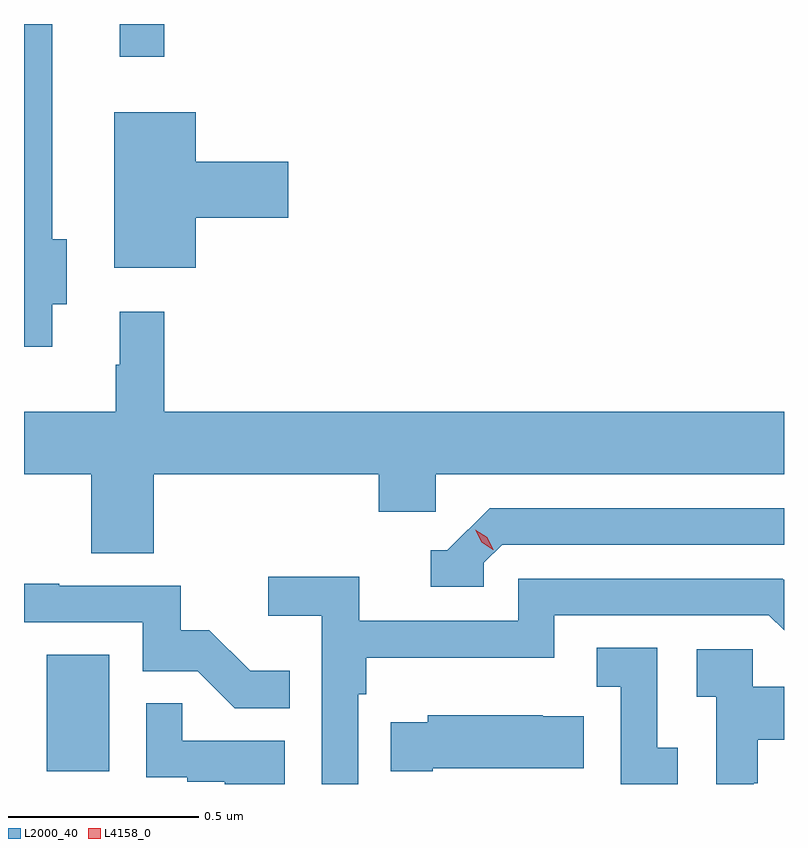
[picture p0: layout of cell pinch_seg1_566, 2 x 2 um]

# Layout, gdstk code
import gdstk
lib = gdstk.Library(unit=1e-6, precision=1e-09)
def R(c, l, rs):  # rectangles x0, y0, x1, y1
    for r in rs: c.add(gdstk.rectangle(r[:2], r[2:], *l))
def P(c, l, *ps):  # polygons
    for p in ps: c.add(gdstk.Polygon(p, *l))
L2000_40 = (2000, 40)
L4158_0 = (4158, 0)

pinch_seg1_566 = lib.new_cell('pinch_seg1_566')
R(pinch_seg1_566, L2000_40, [(1017.356,526.974,1017.52,527.281), (1017.548,528.855,1017.665,528.941)])
P(pinch_seg1_566, L2000_40, [(1017.37,528.203),(1017.409,528.203),(1017.409,528.374),(1017.37,528.374),(1017.37,528.941),(1017.296,528.941),(1017.296,528.092),(1017.37,528.092)],
  [(1017.748,528.431),(1017.991,528.431),(1017.991,528.578),(1017.748,528.578),(1017.748,528.709),(1017.533,528.709),(1017.533,528.299),(1017.748,528.299)],
  [(1017.638,527.756),(1018.229,527.756),(1018.229,527.658),(1018.38,527.658),(1018.38,527.756),(1019.296,527.756),(1019.296,527.92),(1017.665,527.92),(1017.665,528.184),(1017.548,528.184),(1017.548,528.044),(1017.537,528.044),(1017.537,527.92),(1017.296,527.92),(1017.296,527.756),(1017.473,527.756),(1017.473,527.548),(1017.638,527.548)],
  [(1018.506,527.523),(1018.554,527.571),(1019.296,527.571),(1019.296,527.667),(1018.521,527.667),(1018.41,527.556),(1018.367,527.556),(1018.367,527.46),(1018.506,527.46)],
  [(1018.176,527.177),(1018.196,527.177),(1018.196,527.273),(1018.692,527.273),(1018.692,527.385),(1019.256,527.385),(1019.296,527.345),(1019.296,527.478),(1019.293,527.481),(1018.596,527.481),(1018.596,527.37),(1018.178,527.37),(1018.178,527.486),(1017.939,527.486),(1017.939,527.384),(1018.08,527.384),(1018.08,526.941),(1018.176,526.941)],
  [(1017.995,527.239),(1017.891,527.239),(1017.784,527.346),(1017.708,527.346),(1017.708,527.463),(1017.389,527.463),(1017.389,527.468),(1017.296,527.468),(1017.296,527.367),(1017.609,527.367),(1017.609,527.238),(1017.753,527.238),(1017.851,527.14),(1017.995,527.14)],
  [(1019.017,527.037),(1018.962,527.037),(1018.962,527.3),(1018.803,527.3),(1018.803,527.197),(1018.866,527.197),(1018.866,526.941),(1019.017,526.941)],
  [(1019.217,526.943),(1019.227,526.943),(1019.227,527.057),(1019.296,527.057),(1019.296,527.197),(1019.214,527.197),(1019.214,527.295),(1019.067,527.295),(1019.067,527.171),(1019.118,527.171),(1019.118,526.941),(1019.217,526.941)],
  [(1017.982,527.055),(1017.713,527.055),(1017.713,527.153),(1017.618,527.153),(1017.618,526.959),(1017.725,526.959),(1017.725,526.947),(1017.824,526.947),(1017.824,526.941),(1017.982,526.941)],
  [(1018.372,526.982),(1018.769,526.982),(1018.769,527.119),(1018.661,527.119),(1018.661,527.122),(1018.359,527.122),(1018.359,527.104),(1018.261,527.104),(1018.261,526.975),(1018.372,526.975)])
P(pinch_seg1_566, L4158_0, [(1018.53,527.558),(1018.5,527.577),(1018.484,527.61),(1018.484,527.61),(1018.484,527.61),(1018.515,527.59),(1018.531,527.558),(1018.531,527.558)])

lib.write_gds('pinch_seg1_566.gds')
